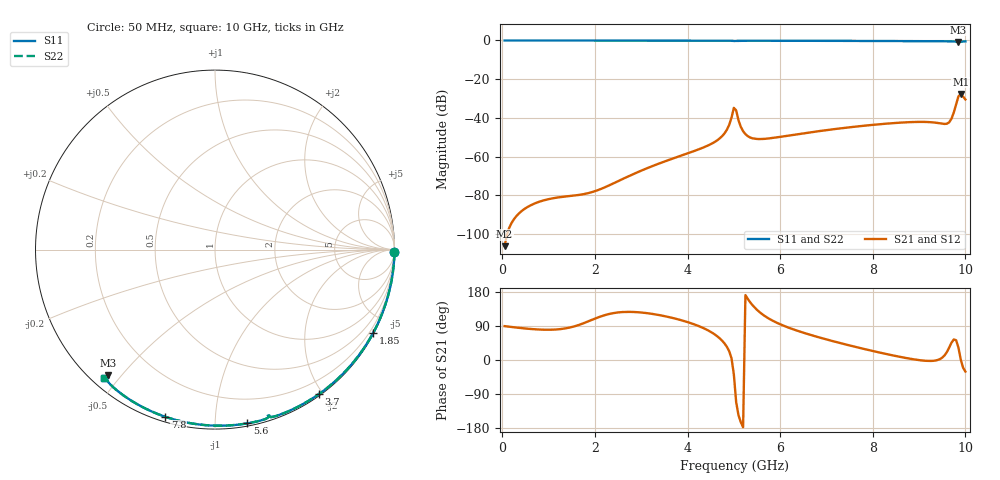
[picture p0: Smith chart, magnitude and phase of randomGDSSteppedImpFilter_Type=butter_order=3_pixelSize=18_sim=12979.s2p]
! freq	dB(S11)	phase(S11)	dB(S12)	phase(S12)
!  dB(S21)	phase(S21)	dB(S22)	phase(S22)
!S-par simulation data
#  GHz  S  DB  R 50
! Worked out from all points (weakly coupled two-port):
!   200 points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, 50 MHz to 10 GHz, reference 50 ohm
!   highest |S21| = -27.71 dB at 9.9 GHz (marker M1); lowest = -106.3 dB at 50 MHz (marker M2)
!   lowest |S11| = -0.7 dB at 9.85 GHz (marker M3), VSWR 23.63, Z = 2.57 - j23.1 ohm
!   |S11| at or under -10 dB: nowhere
!   |S22| runs from -0.7 to 0.0 dB; largest |S21 - S12| = 0
!   S11 on the Smith chart (normalised r, x): 50 MHz: open; 1.85 GHz: 0.04, -4.05; 3.7 GHz: 0.02, -1.95; 5.6 GHz: 0.02, -1.20; 7.8 GHz: 0.02, -0.75; 10 GHz: 0.03, -0.46
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0.05  -0.00 -0.8  -106.34 89.3  -106.34 89.3  -0.00 -0.8
1.75  -0.03 -26.3  -79.48 96.8  -79.48 96.8  -0.03 -26.3
1.85  -0.04 -27.8  -78.96 101.7  -78.96 101.7  -0.04 -27.8
3.4  -0.07 -50.1  -63.49 118.3  -63.49 118.3  -0.07 -50.1
3.7  -0.07 -54.3  -60.88 110.3  -60.88 110.3  -0.07 -54.3
4.65  -0.10 -67.3  -51.46 61.8  -51.46 61.8  -0.10 -67.3
4.85  -0.11 -70.1  -46.13 34.7  -46.13 34.7  -0.11 -70.1
4.95  -0.15 -71.7  -39.90 4.6  -39.90 4.6  -0.15 -71.7
5  -0.26 -72.4  -34.84 -37.9  -34.84 -37.9  -0.26 -72.4
5.05  -0.24 -71.9  -36.15 -111.0  -36.15 -111.0  -0.24 -71.9
5.15  -0.13 -73.4  -44.65 -164.0  -44.65 -164.0  -0.13 -73.4
5.25  -0.13 -74.8  -48.42 171.3  -48.42 171.3  -0.13 -74.8
5.4  -0.13 -76.9  -50.58 145.0  -50.58 145.0  -0.13 -76.9
5.6  -0.13 -79.5  -50.95 122.0  -50.95 122.0  -0.13 -79.5
6.7  -0.18 -93.3  -47.34 64.6  -47.34 64.6  -0.18 -93.3
7.8  -0.25 -106.6  -44.11 29.5  -44.11 29.5  -0.25 -106.6
8.35  -0.29 -113.1  -42.90 14.3  -42.90 14.3  -0.29 -113.1
9.6  -0.44 -127.8  -43.05 20.9  -43.05 20.9  -0.44 -127.8
9.7  -0.48 -129.2  -40.43 45.7  -40.43 45.7  -0.48 -129.2
9.85  -0.74 -130.3  -28.88 32.7  -28.88 32.7  -0.73 -130.3
9.9  -0.68 -129.7  -27.71 1.1  -27.71 1.1  -0.67 -129.7
10  -0.49 -130.9  -30.51 -30.5  -30.51 -30.5  -0.49 -130.9
